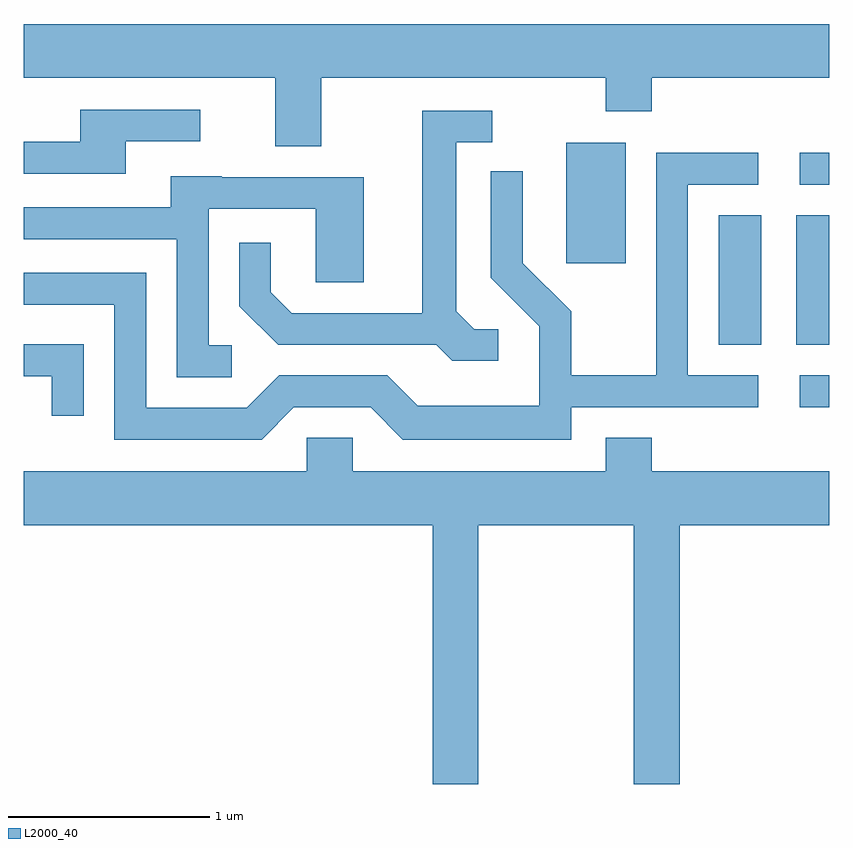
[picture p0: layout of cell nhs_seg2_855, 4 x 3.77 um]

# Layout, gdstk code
import gdstk
lib = gdstk.Library(unit=1e-6, precision=1e-09)
def R(c, l, rs):  # rectangles x0, y0, x1, y1
    for r in rs: c.add(gdstk.rectangle(r[:2], r[2:], *l))
def P(c, l, *ps):  # polygons
    for p in ps: c.add(gdstk.Polygon(p, *l))
L2000_40 = (2000, 40)

nhs_seg2_855 = lib.new_cell('nhs_seg2_855')
R(nhs_seg2_855, L2000_40, [(213.463,1057.781,213.611,1057.939), (213.061,1058.091,213.274,1058.734), (213.446,1058.091,213.611,1058.734), (212.306,1058.496,212.599,1059.094), (213.463,1058.886,213.611,1059.044)])
P(nhs_seg2_855, L2000_40, [(211.089,1059.416),(212.501,1059.416),(212.501,1059.251),(212.729,1059.251),(212.729,1059.416),(213.611,1059.416),(213.611,1059.684),(209.611,1059.684),(209.611,1059.416),(210.861,1059.416),(210.861,1059.076),(211.089,1059.076)],
  [(210.119,1059.101),(210.488,1059.101),(210.488,1059.259),(209.891,1059.259),(209.891,1059.099),(209.611,1059.099),(209.611,1058.941),(210.119,1058.941)],
  [(211.968,1058.169),(211.847,1058.169),(211.759,1058.257),(211.759,1059.096),(211.938,1059.096),(211.938,1059.254),(211.591,1059.254),(211.591,1058.249),(210.942,1058.249),(210.839,1058.352),(210.839,1058.598),(210.681,1058.598),(210.681,1058.284),(210.874,1058.091),(211.659,1058.091),(211.739,1058.011),(211.968,1058.011)],
  [(210.952,1057.781),(211.334,1057.781),(211.494,1057.621),(212.329,1057.621),(212.329,1057.781),(213.258,1057.781),(213.258,1057.939),(212.909,1057.939),(212.909,1058.886),(213.258,1058.886),(213.258,1059.044),(212.751,1059.044),(212.751,1057.939),(212.329,1057.939),(212.329,1058.257),(212.089,1058.497),(212.089,1058.953),(211.931,1058.953),(211.931,1058.424),(212.171,1058.184),(212.171,1057.789),(211.567,1057.789),(211.417,1057.939),(210.879,1057.939),(210.719,1057.779),(210.219,1057.779),(210.219,1058.449),(209.611,1058.449),(209.611,1058.291),(210.061,1058.291),(210.061,1057.621),(210.792,1057.621)],
  [(210.643,1058.089),(210.529,1058.089),(210.529,1058.766),(211.061,1058.766),(211.061,1058.401),(211.299,1058.401),(211.299,1058.924),(210.595,1058.924),(210.595,1058.929),(210.341,1058.929),(210.341,1058.774),(209.611,1058.774),(209.611,1058.616),(210.371,1058.616),(210.371,1057.931),(210.643,1057.931)],
  [(209.909,1058.094),(209.611,1058.094),(209.611,1057.936),(209.751,1057.936),(209.751,1057.738),(209.909,1057.738)],
  [(211.869,1057.196),(212.641,1057.196),(212.641,1055.911),(212.869,1055.911),(212.869,1057.196),(213.611,1057.196),(213.611,1057.464),(212.729,1057.464),(212.729,1057.629),(212.501,1057.629),(212.501,1057.464),(211.244,1057.464),(211.244,1057.629),(211.016,1057.629),(211.016,1057.464),(209.611,1057.464),(209.611,1057.196),(211.641,1057.196),(211.641,1055.911),(211.869,1055.911)])

lib.write_gds('nhs_seg2_855.gds')
